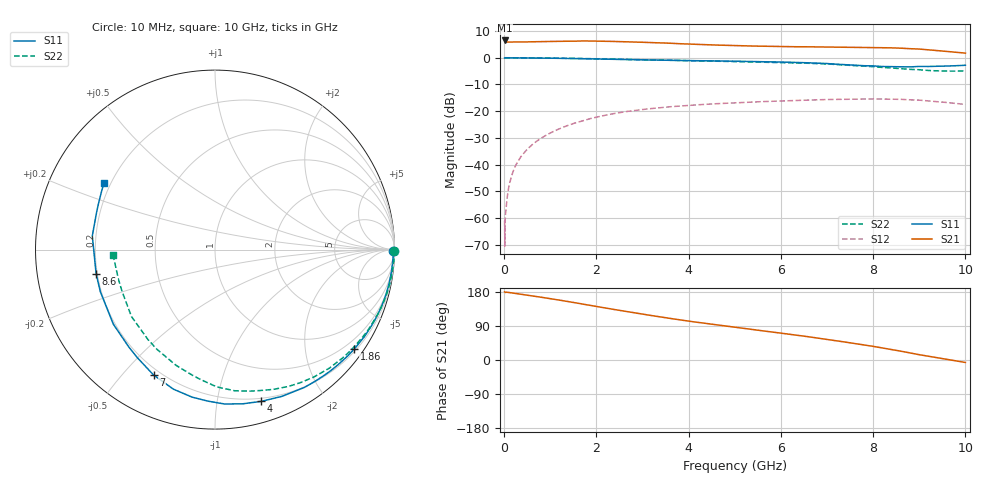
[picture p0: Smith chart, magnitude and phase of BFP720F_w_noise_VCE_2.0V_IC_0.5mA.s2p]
! Infineon Technologies  Discrete & RF Semiconductors
! BFP720F
! VCE =  2.0 V,  IC =  0.5 mA
! Common Emitter S-Parameters:  Jan 2016
# GHz  S  MA  R  50
!  f  S11  S21  S12  S22
! GHz  MAG  ANG  MAG  ANG  MAG  ANG  MAG  ANG
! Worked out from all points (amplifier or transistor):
!   233 points, 10 MHz to 10 GHz, reference 50 ohm
!   highest |S21| = 6.5 dB at 10 MHz (marker M1)
!   |S21| within 3 dB of that: start of sweep to 8.716 GHz
!   unconditionally stable (mu >= 1): nowhere
!   at 200 MHz: K = 0.00, MSG = 24.1 dB, |S12| = -42.3 dB
!   at 1.74 GHz: K = 0.12, MSG = 14.8 dB, |S12| = -23.3 dB
!   at 10 GHz: K = 0.80, MSG = 9.6 dB, |S12| = -17.5 dB
!   lowest NFmin = 0.54 dB at 450 MHz
!   S11 on the Smith chart (normalised r, x): 10 MHz: open; 1.86 GHz: 0.26, -3.10; 4 GHz: 0.17, -1.34; 7 GHz: 0.17, -0.61; 8.6 GHz: 0.20, -0.10; 10 GHz: 0.17, +0.27
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0.01  0.9895 -0.3  2.103 179.8  0.0009 -46.3  1 -0.5
0.015  0.9919 -0.2  2.046 179.1  0.0003 23.0  1 -0.7
0.02  0.9943 -0.2  1.99 178.3  0.0009 92.3  1 -0.9
0.06  0.9931 -1.2  1.962 178.8  0.0022 90.4  0.9984 -0.9
0.095  0.9938 -1.7  1.962 178.3  0.0036 89.5  0.999 -1.3
0.2  0.9924 -3.6  1.966 176.5  0.0077 87.8  0.9978 -2.9
0.36  0.9913 -6.5  1.974 173.6  0.014 84.9  0.9968 -5.3
0.54  0.989 -9.9  1.982 170.3  0.021 82.1  0.9946 -8.0
0.84  0.9838 -15.5  2 164.9  0.0328 77.2  0.9907 -12.5
1.68  0.9595 -32.0  2.057 148.0  0.0657 62.6  0.9667 -25.8
1.86  0.953 -35.6  2.051 144.2  0.0724 59.2  0.9606 -28.8
2.64  0.925 -50.6  1.989 128.0  0.0982 44.7  0.9308 -40.9
3.4  0.9003 -63.8  1.891 113.3  0.117 31.7  0.9018 -50.9
4  0.8841 -73.0  1.802 102.5  0.1289 22.6  0.8812 -57.2
5.1  0.8576 -87.7  1.68 84.9  0.1449 7.2  0.844 -67.3
6.8  0.7887 -112.2  1.593 57.8  0.1634 -15.7  0.7755 -86.3
7  0.778 -116.1  1.591 54.3  0.1655 -18.6  0.7653 -89.2
8  0.7025 -143.8  1.555 36.0  0.1698 -34.3  0.6803 -108.6
8.4  0.6805 -159.8  1.529 27.6  0.1685 -41.7  0.643 -120.2
8.6  0.676 -168.4  1.508 23.3  0.1667 -45.5  0.625 -126.7
9  0.6878 173.6  1.452 14.0  0.161 -53.7  0.5963 -141.3
10  0.7231 148.9  1.22 -6.5  0.1338 -70.9  0.5688 -177.0
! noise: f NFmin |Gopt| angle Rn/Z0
0.45  0.54  0.9  6  0.96
0.9  0.77  0.88  13  1.01
2.4  1.03  0.86  32  0.7
5.5  1.54  0.73  97  0.46
